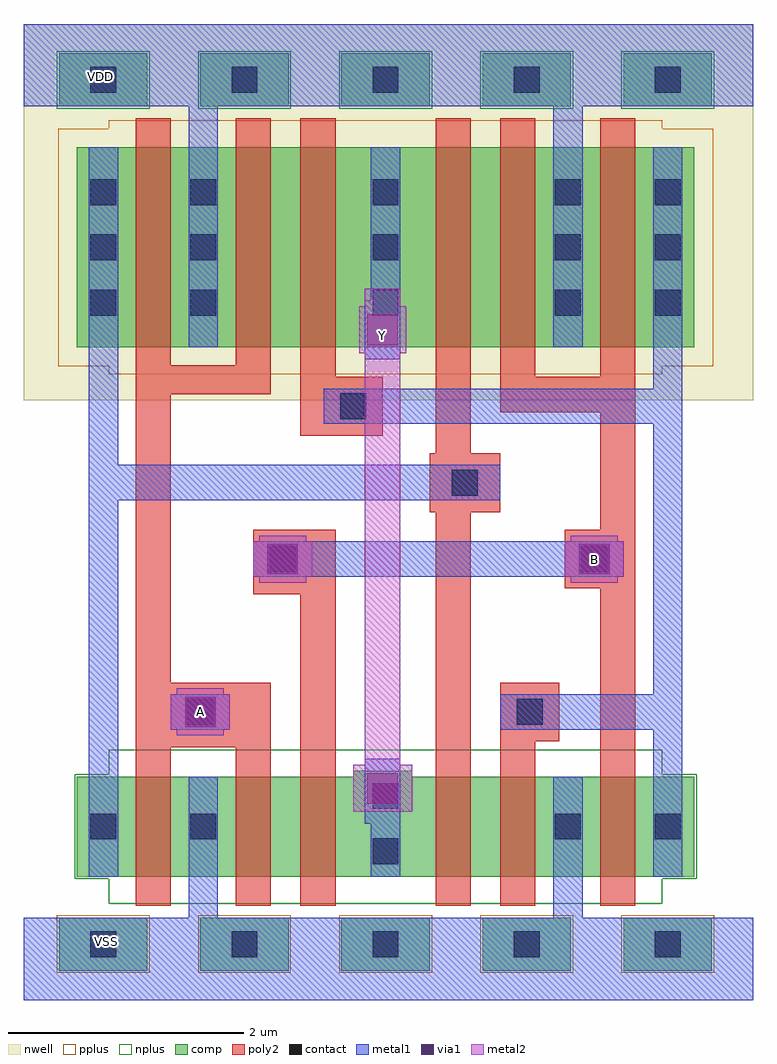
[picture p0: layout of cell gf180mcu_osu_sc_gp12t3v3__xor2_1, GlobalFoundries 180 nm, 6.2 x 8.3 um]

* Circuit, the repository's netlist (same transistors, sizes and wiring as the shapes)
* Copyright 2022 Google LLC
*
* Licensed under the Apache License, Version 2.0 (the "License");
* you may not use this file except in compliance with the License.
* You may obtain a copy of the License at
*
*      http://www.apache.org/licenses/LICENSE-2.0
*
* Unless required by applicable law or agreed to in writing, software
* distributed under the License is distributed on an "AS IS" BASIS,
* WITHOUT WARRANTIES OR CONDITIONS OF ANY KIND, either express or implied.
* See the License for the specific language governing permissions and
* limitations under the License.

.option scale=0.05u

.subckt gf180mcu_osu_sc_gp12t3v3__xor2_1 A Y B
X0 Y B a_42_19 VSS nmos_3p3 w=17 l=6
X1 VDD B a_76_109 VDD pmos_3p3 w=34 l=6
X2 a_47_94 B VDD VDD pmos_3p3 w=34 l=6
X3 Y a_47_94 a_42_109 VDD pmos_3p3 w=34 l=6
X4 a_76_109 a_9_19 Y VDD pmos_3p3 w=34 l=6
X5 a_42_109 A VDD VDD pmos_3p3 w=34 l=6
X6 VDD A a_9_19 VDD pmos_3p3 w=34 l=6
X7 VSS A a_9_19 VSS nmos_3p3 w=17 l=6
X8 a_76_19 a_9_19 Y VSS nmos_3p3 w=17 l=6
X9 a_42_19 A VSS VSS nmos_3p3 w=17 l=6
X10 a_47_94 B VSS VSS nmos_3p3 w=17 l=6
X11 VSS a_47_94 a_76_19 VSS nmos_3p3 w=17 l=6
.ends

** hspice subcircuit dictionary

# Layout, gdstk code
import gdstk
lib = gdstk.Library(unit=1e-6, precision=1e-09)
def R(c, l, rs):  # rectangles x0, y0, x1, y1
    for r in rs: c.add(gdstk.rectangle(r[:2], r[2:], *l))
def A(c, l, x, y, w, h, nx, ny, dx, dy):  # array of equal rectangles
    R(c, l, [(x+i*dx, y+j*dy, x+i*dx+w, y+j*dy+h) for i in range(nx) for j in range(ny)])
nwell = (21, 0)
comp = (22, 0)
poly2 = (30, 0)
pplus = (31, 0)
nplus = (32, 0)
contact = (33, 0)
metal1 = (34, 0)
via1 = (35, 0)
metal2 = (36, 0)

gf180mcu_osu_sc_gp12t3v3 = lib.new_cell('gf180mcu_osu_sc_gp12t3v3__xor2_1')
R(gf180mcu_osu_sc_gp12t3v3, nwell, [(0,5.1,6.2,8.3)])
A(gf180mcu_osu_sc_gp12t3v3, comp, 0.3, 0.25, 0.75, 0.45, 5, 2, 1.2, 7.35)
R(gf180mcu_osu_sc_gp12t3v3, comp, [(0.45,1.05,5.7,1.9), (2.8,1.9,3.3,1.95), (0.45,5.55,5.7,7.25)])
R(gf180mcu_osu_sc_gp12t3v3, poly2, [(0.95,0.8,1.25,2.15), (1.8,0.8,2.1,2.15), (2.35,0.8,2.65,3.45), (3.5,0.8,3.8,4.15), (4.05,0.8,4.35,2.2), (4.9,0.8,5.2,3.5), (0.95,2.15,2.1,2.7), (4.05,2.2,4.55,2.7), (0.95,2.7,1.25,5.15), (1.95,3.45,2.65,4), (4.6,3.5,5.2,4), (4.9,4,5.2,5), (3.45,4.15,4.05,4.65), (3.5,4.65,3.8,7.5), (2.35,4.8,3.05,5.3), (4.05,5,5.2,5.3), (0.95,5.15,2.1,5.4), (2.35,5.3,2.65,7.5), (4.05,5.3,4.35,7.5), (4.9,5.3,5.2,7.5), (0.95,5.4,1.25,7.5), (1.8,5.4,2.1,7.5)])
A(gf180mcu_osu_sc_gp12t3v3, pplus, 0.28, 0.23, 0.79, 0.49, 5, 1, 1.2, 0)
R(gf180mcu_osu_sc_gp12t3v3, pplus, [(0.72,5.32,5.43,5.39), (0.29,5.39,5.86,7.41), (0.72,7.41,5.43,7.48)])
A(gf180mcu_osu_sc_gp12t3v3, nplus, 0.28, 7.58, 0.79, 0.49, 5, 1, 1.2, 0)
R(gf180mcu_osu_sc_gp12t3v3, nplus, [(0.72,0.82,5.43,1.03), (0.43,1.03,5.72,1.92), (0.72,1.92,5.43,2.13)])
A(gf180mcu_osu_sc_gp12t3v3, contact, 0.565, 0.365, 0.22, 0.22, 5, 2, 1.2, 7.35)
A(gf180mcu_osu_sc_gp12t3v3, contact, 0.565, 5.82, 0.22, 0.22, 1, 3, 0, 0.47)
A(gf180mcu_osu_sc_gp12t3v3, contact, 1.415, 5.82, 0.22, 0.22, 3, 3, 1.55, 0.47)
A(gf180mcu_osu_sc_gp12t3v3, contact, 5.365, 5.82, 0.22, 0.22, 1, 3, 0, 0.47)
R(gf180mcu_osu_sc_gp12t3v3, contact, [(2.965,1.155,3.185,1.375), (0.565,1.365,0.785,1.585), (1.415,1.365,1.635,1.585), (4.515,1.365,4.735,1.585), (5.365,1.365,5.585,1.585), (2.965,1.625,3.185,1.845), (1.39,2.34,1.61,2.56), (4.19,2.34,4.41,2.56), (2.09,3.64,2.31,3.86), (4.74,3.64,4.96,3.86), (3.64,4.29,3.86,4.51), (2.69,4.94,2.91,5.16)])
R(gf180mcu_osu_sc_gp12t3v3, metal1, [(0,0,6.2,0.7), (1.4,0.7,1.65,1.9), (4.5,0.7,4.75,1.9), (0.55,1.05,0.8,4.25), (2.95,1.05,3.2,1.5), (5.35,1.05,5.6,2.3), (2.9,1.5,3.2,2.05), (1.25,2.3,1.75,2.6), (4.05,2.3,5.6,2.6), (5.35,2.6,5.6,4.9), (1.95,3.6,5.1,3.9), (0.55,4.25,4.05,4.55), (0.55,4.55,0.8,7.25), (2.55,4.9,5.6,5.2), (5.35,5.2,5.6,7.25), (2.9,5.45,3.2,5.95), (1.4,5.55,1.65,7.6), (4.5,5.55,4.75,7.6), (2.95,5.95,3.2,7.25), (0,7.6,6.2,8.3)])
R(gf180mcu_osu_sc_gp12t3v3, via1, [(2.92,1.67,3.18,1.93), (1.37,2.32,1.63,2.58), (2.07,3.62,2.33,3.88), (4.72,3.62,4.98,3.88), (2.92,5.57,3.18,5.83)])
R(gf180mcu_osu_sc_gp12t3v3, metal2, [(2.8,1.6,3.3,2), (2.9,2,3.2,5.5), (1.3,2.25,1.7,2.3), (1.25,2.3,1.75,2.6), (1.3,2.6,1.7,2.65), (2,3.55,2.4,3.6), (4.65,3.55,5.05,3.6), (1.95,3.6,2.45,3.9), (4.6,3.6,5.1,3.9), (2,3.9,2.4,3.95), (4.65,3.9,5.05,3.95), (2.85,5.5,3.25,5.9), (2.9,5.9,3.2,6.05)])
gf180mcu_osu_sc_gp12t3v3.add(gdstk.Label('A', (1.5,2.45), layer=36, texttype=10))
gf180mcu_osu_sc_gp12t3v3.add(gdstk.Label('B', (4.85,3.75), layer=36, texttype=10))
gf180mcu_osu_sc_gp12t3v3.add(gdstk.Label('Y', (3.05,5.65), layer=36, texttype=10))
gf180mcu_osu_sc_gp12t3v3.add(gdstk.Label('VDD', (0.65,7.85), layer=34, texttype=10))
gf180mcu_osu_sc_gp12t3v3.add(gdstk.Label('VSS', (0.7,0.5), layer=34, texttype=10))

lib.write_gds('gf180mcu_osu_sc_gp12t3v3__xor2_1.gds')
